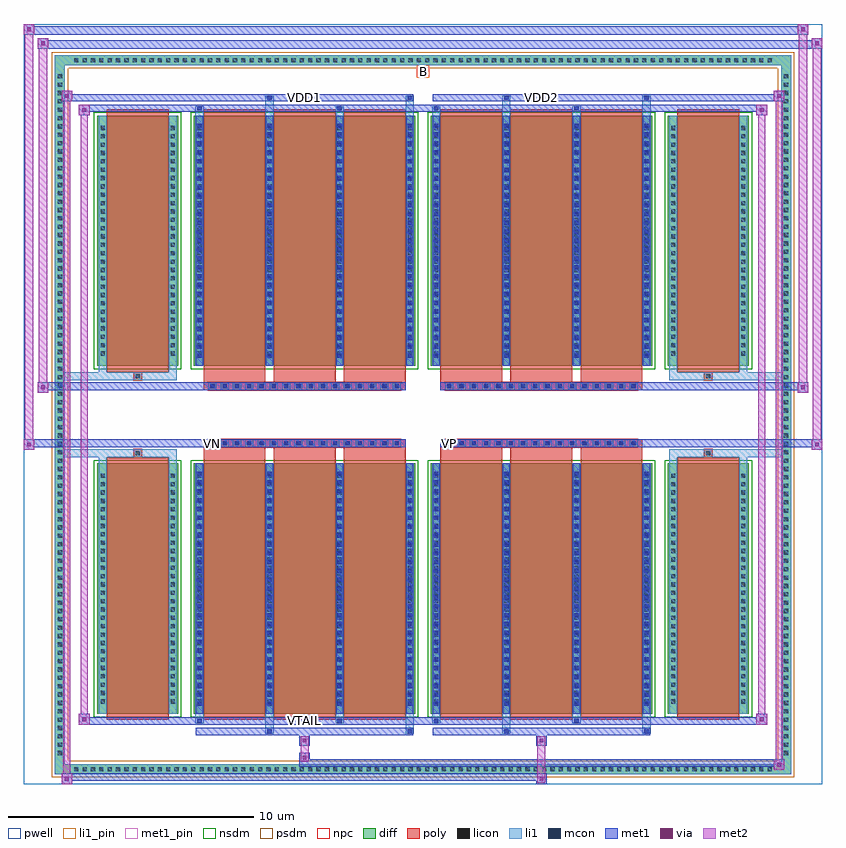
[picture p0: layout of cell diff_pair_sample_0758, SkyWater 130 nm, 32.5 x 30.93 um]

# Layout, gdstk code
import gdstk
lib = gdstk.Library(unit=1e-6, precision=5e-09)
def R(c, l, rs):  # rectangles x0, y0, x1, y1
    for r in rs: c.add(gdstk.rectangle(r[:2], r[2:], *l))
def A(c, l, x, y, w, h, nx, ny, dx, dy):  # array of equal rectangles
    R(c, l, [(x+i*dx, y+j*dy, x+i*dx+w, y+j*dy+h) for i in range(nx) for j in range(ny)])
def P(c, l, *ps):  # polygons
    for p in ps: c.add(gdstk.Polygon(p, *l))
pwell = (64, 44)
diff = (65, 20)
poly = (66, 20)
licon = (66, 44)
li1_pin = (67, 16)
li1 = (67, 20)
mcon = (67, 44)
met1_pin = (68, 16)
met1 = (68, 20)
via = (68, 44)
met2 = (69, 20)
nsdm = (93, 44)
psdm = (94, 20)
npc = (95, 20)

diff_pair_sample_0758 = lib.new_cell('diff_pair_sample_0758')
R(diff_pair_sample_0758, pwell, [(-16.25,-15.03,16.25,15.9), (-13.57,-13.22,-0.01,-0.8), (0.01,-13.22,13.57,-0.8), (-13.57,0.8,-0.01,13.22), (0.01,0.8,13.57,13.22)])
A(diff_pair_sample_0758, diff, -14.315, -14.63, 0.41, 0.41, 84, 2, 0.34, 28.85)
A(diff_pair_sample_0758, diff, -14.98, -13.975, 0.41, 0.41, 1, 82, 0, 0.34)
A(diff_pair_sample_0758, diff, 14.57, -13.975, 0.41, 0.41, 1, 82, 0, 0.34)
R(diff_pair_sample_0758, diff, [(-14.315,-14.63,14.315,-14.22), (-14.98,-13.975,-14.57,13.975), (14.57,-13.975,14.98,13.975), (-13.26,-12.175,-9.96,-1.985), (-9.32,-12.175,-0.32,-1.985), (0.32,-12.175,9.32,-1.985), (9.96,-12.175,13.26,-1.985), (-13.26,1.985,-9.96,12.175), (-9.32,1.985,-0.32,12.175), (0.32,1.985,9.32,12.175), (9.96,1.985,13.26,12.175), (-14.315,14.22,14.315,14.63)])
P(diff_pair_sample_0758, diff, [(14.98,14.63),(-14.98,14.63),(-14.98,-14.22),(-14.57,-14.22),(-14.57,14.22),(14.57,14.22),(14.57,-14.22),(-14.57,-14.22),(-14.98,-14.22),(-14.98,-14.63),(14.98,-14.63)])
A(diff_pair_sample_0758, poly, -8.93, -12.425, 2.52, 10.69, 3, 2, 2.85, 14.16)
A(diff_pair_sample_0758, poly, 0.71, -12.425, 2.52, 10.69, 3, 2, 2.85, 14.16)
A(diff_pair_sample_0758, poly, -8.93, -1.735, 2.52, 0.405, 3, 2, 2.85, 3.065)
A(diff_pair_sample_0758, poly, 0.71, -1.735, 2.52, 0.405, 3, 2, 2.85, 3.065)
A(diff_pair_sample_0758, poly, -8.735, -1.33, 0.33, 0.33, 16, 2, 0.5, 2.33)
A(diff_pair_sample_0758, poly, 0.905, -1.33, 0.33, 0.33, 16, 2, 0.5, 2.33)
R(diff_pair_sample_0758, poly, [(-12.87,-12.425,-10.35,-1.735), (10.35,-12.425,12.87,-1.735), (-11.775,-1.735,-11.445,-1.405), (-11.775,-1.735,-11.445,-1.405), (11.445,-1.735,11.775,-1.405), (11.445,-1.735,11.775,-1.405), (-8.93,-1.33,-0.71,-1), (0.71,-1.33,8.93,-1), (-8.93,1,-0.71,1.33), (0.71,1,8.93,1.33), (-11.775,1.405,-11.445,1.735), (-11.775,1.405,-11.445,1.735), (11.445,1.405,11.775,1.735), (11.445,1.405,11.775,1.735), (-12.87,1.735,-10.35,12.425), (10.35,1.735,12.87,12.425)])
A(diff_pair_sample_0758, licon, -14.195, -14.51, 0.17, 0.17, 84, 2, 0.34, 28.85)
A(diff_pair_sample_0758, licon, -14.86, -13.855, 0.17, 0.17, 1, 82, 0, 0.34)
A(diff_pair_sample_0758, licon, 14.69, -13.855, 0.17, 0.17, 1, 82, 0, 0.34)
A(diff_pair_sample_0758, licon, -13.12, -11.755, 0.17, 0.17, 1, 28, 0, 0.34)
A(diff_pair_sample_0758, licon, -10.27, -11.755, 0.17, 0.17, 1, 28, 0, 0.34)
A(diff_pair_sample_0758, licon, -9.18, -11.755, 0.17, 0.17, 4, 28, 2.85, 0.34)
A(diff_pair_sample_0758, licon, 0.46, -11.755, 0.17, 0.17, 4, 28, 2.85, 0.34)
A(diff_pair_sample_0758, licon, 10.1, -11.755, 0.17, 0.17, 1, 28, 0, 0.34)
A(diff_pair_sample_0758, licon, 12.95, -11.755, 0.17, 0.17, 1, 28, 0, 0.34)
A(diff_pair_sample_0758, licon, -8.655, -1.25, 0.17, 0.17, 16, 2, 0.5, 2.33)
A(diff_pair_sample_0758, licon, 0.985, -1.25, 0.17, 0.17, 16, 2, 0.5, 2.33)
A(diff_pair_sample_0758, licon, -13.12, 2.405, 0.17, 0.17, 1, 28, 0, 0.34)
A(diff_pair_sample_0758, licon, -10.27, 2.405, 0.17, 0.17, 1, 28, 0, 0.34)
A(diff_pair_sample_0758, licon, -9.18, 2.405, 0.17, 0.17, 4, 28, 2.85, 0.34)
A(diff_pair_sample_0758, licon, 0.46, 2.405, 0.17, 0.17, 4, 28, 2.85, 0.34)
A(diff_pair_sample_0758, licon, 10.1, 2.405, 0.17, 0.17, 1, 28, 0, 0.34)
A(diff_pair_sample_0758, licon, 12.95, 2.405, 0.17, 0.17, 1, 28, 0, 0.34)
R(diff_pair_sample_0758, licon, [(-11.695,-1.655,-11.525,-1.485), (11.525,-1.655,11.695,-1.485), (-11.695,1.485,-11.525,1.655), (11.525,1.485,11.695,1.655)])
R(diff_pair_sample_0758, li1_pin, [(-0.25,13.72,0.25,14.22)])
A(diff_pair_sample_0758, li1, -14.275, -14.59, 0.33, 0.33, 84, 2, 0.34, 28.85)
A(diff_pair_sample_0758, li1, -14.94, -13.935, 0.33, 0.33, 1, 82, 0, 0.34)
A(diff_pair_sample_0758, li1, 14.61, -13.935, 0.33, 0.33, 1, 82, 0, 0.34)
A(diff_pair_sample_0758, li1, -9.26, -12.175, 0.33, 10.19, 4, 2, 2.85, 14.16)
A(diff_pair_sample_0758, li1, 0.38, -12.175, 0.33, 10.19, 4, 2, 2.85, 14.16)
A(diff_pair_sample_0758, li1, -9.18, -11.845, 0.17, 0.17, 4, 27, 2.85, 0.36)
A(diff_pair_sample_0758, li1, -9.18, -11.845, 0.17, 9.53, 4, 2, 2.85, 14.16)
A(diff_pair_sample_0758, li1, 0.46, -11.845, 0.17, 0.17, 4, 27, 2.85, 0.36)
A(diff_pair_sample_0758, li1, 0.46, -11.845, 0.17, 9.53, 4, 2, 2.85, 14.16)
A(diff_pair_sample_0758, li1, -13.2, -11.835, 0.33, 0.33, 1, 28, 0, 0.34)
A(diff_pair_sample_0758, li1, -10.35, -11.835, 0.33, 0.33, 1, 28, 0, 0.34)
A(diff_pair_sample_0758, li1, -9.26, -11.835, 0.33, 0.33, 4, 28, 2.85, 0.34)
A(diff_pair_sample_0758, li1, 0.38, -11.835, 0.33, 0.33, 4, 28, 2.85, 0.34)
A(diff_pair_sample_0758, li1, 10.02, -11.835, 0.33, 0.33, 1, 28, 0, 0.34)
A(diff_pair_sample_0758, li1, 12.87, -11.835, 0.33, 0.33, 1, 28, 0, 0.34)
A(diff_pair_sample_0758, li1, -8.735, -1.33, 0.33, 0.33, 16, 2, 0.5, 2.33)
A(diff_pair_sample_0758, li1, 0.905, -1.33, 0.33, 0.33, 16, 2, 0.5, 2.33)
A(diff_pair_sample_0758, li1, -9.18, 2.315, 0.17, 0.17, 4, 27, 2.85, 0.36)
A(diff_pair_sample_0758, li1, 0.46, 2.315, 0.17, 0.17, 4, 27, 2.85, 0.36)
A(diff_pair_sample_0758, li1, -13.2, 2.325, 0.33, 0.33, 1, 28, 0, 0.34)
A(diff_pair_sample_0758, li1, -10.35, 2.325, 0.33, 0.33, 1, 28, 0, 0.34)
A(diff_pair_sample_0758, li1, -9.26, 2.325, 0.33, 0.33, 4, 28, 2.85, 0.34)
A(diff_pair_sample_0758, li1, 0.38, 2.325, 0.33, 0.33, 4, 28, 2.85, 0.34)
A(diff_pair_sample_0758, li1, 10.02, 2.325, 0.33, 0.33, 1, 28, 0, 0.34)
A(diff_pair_sample_0758, li1, 12.87, 2.325, 0.33, 0.33, 1, 28, 0, 0.34)
R(diff_pair_sample_0758, li1, [(-14.98,-14.63,-14.57,-14.22), (-14.98,-14.63,-14.57,-14.22), (-14.57,-14.63,14.57,-14.22), (14.57,-14.63,14.98,-14.22), (14.57,-14.63,14.98,-14.22), (-14.98,-14.22,-14.57,14.22), (14.57,-14.22,14.98,14.22), (-6.41,-12.98,-6.08,-12.175), (-6.33,-12.98,-6.16,-12.81), (-0.71,-12.98,-0.38,-12.175), (-0.63,-12.98,-0.46,-12.81), (3.23,-12.98,3.56,-12.175), (3.31,-12.98,3.48,-12.81), (8.93,-12.98,9.26,-12.175), (9.01,-12.98,9.18,-12.81), (-9.26,-12.55,-8.93,-12.175), (-9.18,-12.55,-9.01,-12.38), (-3.56,-12.55,-3.23,-12.175), (-3.48,-12.55,-3.31,-12.38), (0.38,-12.55,0.71,-12.175), (0.46,-12.55,0.63,-12.38), (6.08,-12.55,6.41,-12.175), (6.16,-12.55,6.33,-12.38), (-13.2,-12.175,-12.87,-1.985), (-10.35,-12.175,-10.02,-1.985), (10.02,-12.175,10.35,-1.985), (12.87,-12.175,13.2,-1.985), (-13.2,-1.985,-12.87,-1.405), (-10.35,-1.985,-10.02,-1.405), (10.02,-1.985,10.35,-1.405), (12.87,-1.985,13.2,-1.405), (-14.98,-1.735,-11.775,-1.405), (-13.2,-1.735,-11.775,-1.405), (-11.775,-1.735,-11.445,-1.405), (-11.445,-1.735,-10.02,-1.405), (10.02,-1.735,11.445,-1.405), (11.445,-1.735,11.775,-1.405), (11.445,-1.735,14.98,-1.405), (11.775,-1.735,13.2,-1.405), (-14.98,1.405,-11.775,1.735), (-13.2,1.405,-11.775,1.735), (-13.2,1.405,-12.87,1.985), (-11.775,1.405,-11.445,1.735), (-11.445,1.405,-10.02,1.735), (-10.35,1.405,-10.02,1.985), (10.02,1.405,11.445,1.735), (10.02,1.405,10.35,1.985), (11.445,1.405,11.775,1.735), (11.445,1.405,14.98,1.735), (11.775,1.405,13.2,1.735), (12.87,1.405,13.2,1.985), (-13.2,1.985,-12.87,12.175), (-10.35,1.985,-10.02,12.175), (10.02,1.985,10.35,12.175), (12.87,1.985,13.2,12.175), (-9.26,12.175,-8.93,12.55), (-6.41,12.175,-6.08,12.98), (-3.56,12.175,-3.23,12.55), (-0.71,12.175,-0.38,12.98), (0.38,12.175,0.71,12.55), (3.23,12.175,3.56,12.98), (6.08,12.175,6.41,12.55), (8.93,12.175,9.26,12.98), (-9.18,12.38,-9.01,12.55), (-3.48,12.38,-3.31,12.55), (0.46,12.38,0.63,12.55), (6.16,12.38,6.33,12.55), (-6.33,12.81,-6.16,12.98), (-0.63,12.81,-0.46,12.98), (3.31,12.81,3.48,12.98), (9.01,12.81,9.18,12.98), (-14.98,14.22,-14.57,14.63), (-14.98,14.22,-14.57,14.63), (-14.57,14.22,14.57,14.63), (14.57,14.22,14.98,14.63), (14.57,14.22,14.98,14.63)])
A(diff_pair_sample_0758, mcon, -9.18, -11.845, 0.17, 0.17, 4, 27, 2.85, 0.36)
A(diff_pair_sample_0758, mcon, 0.46, -11.845, 0.17, 0.17, 4, 27, 2.85, 0.36)
A(diff_pair_sample_0758, mcon, -8.655, -1.25, 0.17, 0.17, 16, 2, 0.5, 2.33)
A(diff_pair_sample_0758, mcon, 0.985, -1.25, 0.17, 0.17, 16, 2, 0.5, 2.33)
A(diff_pair_sample_0758, mcon, -9.18, 2.315, 0.17, 0.17, 4, 27, 2.85, 0.36)
A(diff_pair_sample_0758, mcon, 0.46, 2.315, 0.17, 0.17, 4, 27, 2.85, 0.36)
R(diff_pair_sample_0758, mcon, [(-6.33,-12.98,-6.16,-12.81), (-0.63,-12.98,-0.46,-12.81), (3.31,-12.98,3.48,-12.81), (9.01,-12.98,9.18,-12.81), (-9.18,-12.55,-9.01,-12.38), (-3.48,-12.55,-3.31,-12.38), (0.46,-12.55,0.63,-12.38), (6.16,-12.55,6.33,-12.38), (-9.18,12.38,-9.01,12.55), (-3.48,12.38,-3.31,12.55), (0.46,12.38,0.63,12.55), (6.16,12.38,6.33,12.55), (-6.33,12.81,-6.16,12.98), (-0.63,12.81,-0.46,12.98), (3.31,12.81,3.48,12.98), (9.01,12.81,9.18,12.98)])
R(diff_pair_sample_0758, met1_pin, [(-4.955,-12.59,-4.685,-12.32), (-8.705,-1.29,-8.435,-1.02), (0.935,-1.29,1.205,-1.02), (-4.955,12.77,-4.685,13.04), (4.685,12.77,4.955,13.04)])
A(diff_pair_sample_0758, met1, -9.24, -12.175, 0.29, 10.19, 4, 2, 2.85, 14.16)
A(diff_pair_sample_0758, met1, 0.4, -12.175, 0.29, 10.19, 4, 2, 2.85, 14.16)
A(diff_pair_sample_0758, met1, -9.24, -11.905, 0.29, 0.29, 4, 27, 2.85, 0.36)
A(diff_pair_sample_0758, met1, 0.4, -11.905, 0.29, 0.29, 4, 27, 2.85, 0.36)
A(diff_pair_sample_0758, met1, -8.715, -1.31, 0.29, 0.29, 16, 2, 0.5, 2.33)
A(diff_pair_sample_0758, met1, 0.925, -1.31, 0.29, 0.29, 16, 2, 0.5, 2.33)
A(diff_pair_sample_0758, met1, -9.24, 2.255, 0.29, 0.29, 4, 27, 2.85, 0.36)
A(diff_pair_sample_0758, met1, 0.4, 2.255, 0.29, 0.29, 4, 27, 2.85, 0.36)
R(diff_pair_sample_0758, met1, [(-14.71,-15.03,-14.28,-14.6), (4.605,-15.03,5.035,-14.6), (-14.71,-14.89,5.035,-14.6), (14.28,-14.46,14.71,-14.03), (-5.035,-14.32,14.71,-14.03), (-5.035,-14.18,-4.605,-13.75), (-5.035,-13.47,-4.605,-13.04), (4.605,-13.47,5.035,-13.04), (-9.24,-13.04,-0.4,-12.75), (-6.39,-13.04,-6.1,-12.75), (-0.69,-13.04,-0.4,-12.75), (0.4,-13.04,9.24,-12.75), (3.25,-13.04,3.54,-12.75), (8.95,-13.04,9.24,-12.75), (-14,-12.61,-13.57,-12.18), (-14,-12.61,-9.24,-12.32), (-9.24,-12.61,-8.95,-12.32), (-9.24,-12.61,-0.4,-12.32), (-3.54,-12.61,-3.25,-12.32), (-0.4,-12.61,0.4,-12.32), (0.4,-12.61,0.69,-12.32), (0.4,-12.61,9.24,-12.32), (6.1,-12.61,6.39,-12.32), (9.24,-12.61,14,-12.32), (13.57,-12.61,14,-12.18), (-16.25,-1.43,-15.82,-1), (15.82,-1.43,16.25,-1), (-16.25,-1.33,-0.71,-1), (-8.93,-1.33,-0.71,-1), (0.71,-1.33,8.93,-1), (0.71,-1.33,16.25,-1), (-15.68,0.9,-15.25,1.33), (15.25,0.9,15.68,1.33), (-15.68,1,-8.93,1.33), (-8.93,1,-0.71,1.33), (0.71,1,8.93,1.33), (8.93,1,15.68,1.33), (-14,12.18,-13.57,12.61), (13.57,12.18,14,12.61), (-14,12.32,-9.24,12.61), (-9.24,12.32,-8.95,12.61), (-9.24,12.32,-0.4,12.61), (-3.54,12.32,-3.25,12.61), (-0.4,12.32,0.4,12.61), (0.4,12.32,0.69,12.61), (0.4,12.32,9.24,12.61), (6.1,12.32,6.39,12.61), (9.24,12.32,14,12.61), (-14.71,12.75,-14.28,13.18), (-14.71,12.75,-9.24,13.04), (-9.24,12.75,-0.4,13.04), (-6.39,12.75,-6.1,13.04), (-0.69,12.75,-0.4,13.04), (0.4,12.75,9.24,13.04), (3.25,12.75,3.54,13.04), (8.95,12.75,9.24,13.04), (9.24,12.75,14.71,13.04), (14.28,12.75,14.71,13.18), (-15.68,14.9,-15.25,15.33), (-15.68,14.9,-13.57,15.23), (-13.57,14.9,13.57,15.23), (13.57,14.9,16.25,15.23), (15.82,14.9,16.25,15.33), (-16.25,15.47,-15.82,15.9), (-16.25,15.47,-13.57,15.8), (-13.57,15.47,13.57,15.8), (13.57,15.47,15.68,15.8), (15.25,15.47,15.68,15.9)])
R(diff_pair_sample_0758, via, [(-14.57,-14.89,-14.42,-14.74), (4.745,-14.89,4.895,-14.74), (14.42,-14.32,14.57,-14.17), (-4.895,-14.04,-4.745,-13.89), (-4.895,-13.33,-4.745,-13.18), (4.745,-13.33,4.895,-13.18), (-13.86,-12.47,-13.71,-12.32), (13.71,-12.47,13.86,-12.32), (-16.11,-1.29,-15.96,-1.14), (15.96,-1.29,16.11,-1.14), (-15.54,1.04,-15.39,1.19), (15.39,1.04,15.54,1.19), (-13.86,12.32,-13.71,12.47), (13.71,12.32,13.86,12.47), (-14.57,12.89,-14.42,13.04), (14.42,12.89,14.57,13.04), (-15.54,15.04,-15.39,15.19), (15.96,15.04,16.11,15.19), (-16.11,15.61,-15.96,15.76), (15.39,15.61,15.54,15.76)])
R(diff_pair_sample_0758, met2, [(-14.71,-15.03,-14.28,-14.6), (-14.64,-15.03,-14.35,13.18), (-14.35,-15.03,-14.28,-14.6), (-14.66,-14.98,-14.33,-14.65), (4.655,-14.98,4.985,-14.65), (4.655,-14.65,4.985,-13.42), (14.28,-14.46,14.71,-14.03), (14.35,-14.46,14.64,13.18), (14.64,-14.46,14.71,-14.03), (14.33,-14.41,14.66,-14.08), (-4.985,-14.13,-4.655,-13.8), (-4.985,-13.8,-4.655,-13.42), (-4.985,-13.42,-4.655,-13.09), (4.655,-13.42,4.985,-13.09), (-14,-12.61,-13.57,-12.18), (-13.93,-12.61,-13.64,12.61), (-13.64,-12.61,-13.57,-12.18), (13.57,-12.61,14,-12.18), (13.64,-12.61,13.93,12.61), (13.93,-12.61,14,-12.18), (-13.95,-12.56,-13.62,-12.23), (13.62,-12.56,13.95,-12.23), (-16.25,-1.43,-15.82,-1), (-16.2,-1.43,-15.87,15.9), (-15.87,-1.43,-15.82,-1), (15.82,-1.43,16.25,-1), (15.87,-1.43,16.2,15.33), (16.2,-1.43,16.25,-1), (-16.2,-1.38,-15.87,-1.05), (15.87,-1.38,16.2,-1.05), (-15.68,0.9,-15.25,1.33), (-15.63,0.9,-15.3,15.33), (-15.3,0.9,-15.25,1.33), (15.25,0.9,15.68,1.33), (15.3,0.9,15.63,15.9), (15.63,0.9,15.68,1.33), (-15.63,0.95,-15.3,1.28), (15.3,0.95,15.63,1.28), (-14,12.18,-13.57,12.61), (-13.64,12.18,-13.57,12.61), (13.57,12.18,14,12.61), (13.93,12.18,14,12.61), (-13.95,12.23,-13.62,12.56), (13.62,12.23,13.95,12.56), (-14.71,12.75,-14.28,13.18), (-14.35,12.75,-14.28,13.18), (14.28,12.75,14.71,13.18), (14.64,12.75,14.71,13.18), (-14.66,12.8,-14.33,13.13), (14.33,12.8,14.66,13.13), (-15.68,14.9,-15.25,15.33), (-15.3,14.9,-15.25,15.33), (15.82,14.9,16.25,15.33), (16.2,14.9,16.25,15.33), (-15.63,14.95,-15.3,15.28), (15.87,14.95,16.2,15.28), (-16.25,15.47,-15.82,15.9), (-15.87,15.47,-15.82,15.9), (15.25,15.47,15.68,15.9), (15.63,15.47,15.68,15.9), (-16.2,15.52,-15.87,15.85), (15.3,15.52,15.63,15.85)])
R(diff_pair_sample_0758, nsdm, [(-13.39,-12.305,-9.83,-1.855), (-9.45,-12.305,-0.19,-1.855), (0.19,-12.305,9.45,-1.855), (9.83,-12.305,13.39,-1.855), (-13.39,1.855,-9.83,12.305), (-9.45,1.855,-0.19,12.305), (0.19,1.855,9.45,12.305), (9.83,1.855,13.39,12.305)])
P(diff_pair_sample_0758, psdm, [(15.11,14.76),(-15.11,14.76),(-15.11,-14.09),(-14.44,-14.09),(-14.44,14.09),(14.44,14.09),(14.44,-14.09),(-14.44,-14.09),(-15.11,-14.09),(-15.11,-14.76),(15.11,-14.76)])
A(diff_pair_sample_0758, npc, -8.755, -1.35, 0.37, 0.37, 16, 2, 0.5, 2.33)
A(diff_pair_sample_0758, npc, 0.885, -1.35, 0.37, 0.37, 16, 2, 0.5, 2.33)
R(diff_pair_sample_0758, npc, [(-11.795,-1.755,-11.425,-1.385), (11.425,-1.755,11.795,-1.385), (-8.755,-1.35,-7.885,-0.98), (-8.755,-1.35,-7.885,-0.98), (-8.255,-1.35,-7.385,-0.98), (-8.255,-1.35,-7.385,-0.98), (-7.755,-1.35,-6.885,-0.98), (-7.755,-1.35,-6.885,-0.98), (-7.255,-1.35,-6.385,-0.98), (-7.255,-1.35,-6.385,-0.98), (-6.755,-1.35,-5.885,-0.98), (-6.755,-1.35,-5.885,-0.98), (-6.255,-1.35,-5.385,-0.98), (-6.255,-1.35,-5.385,-0.98), (-5.755,-1.35,-4.885,-0.98), (-5.755,-1.35,-4.885,-0.98), (-5.255,-1.35,-4.385,-0.98), (-5.255,-1.35,-4.385,-0.98), (-4.755,-1.35,-3.885,-0.98), (-4.755,-1.35,-3.885,-0.98), (-4.255,-1.35,-3.385,-0.98), (-4.255,-1.35,-3.385,-0.98), (-3.755,-1.35,-2.885,-0.98), (-3.755,-1.35,-2.885,-0.98), (-3.255,-1.35,-2.385,-0.98), (-3.255,-1.35,-2.385,-0.98), (-2.755,-1.35,-1.885,-0.98), (-2.755,-1.35,-1.885,-0.98), (-2.255,-1.35,-1.385,-0.98), (-2.255,-1.35,-1.385,-0.98), (-1.755,-1.35,-0.885,-0.98), (-1.755,-1.35,-0.885,-0.98), (0.885,-1.35,1.755,-0.98), (0.885,-1.35,1.755,-0.98), (1.385,-1.35,2.255,-0.98), (1.385,-1.35,2.255,-0.98), (1.885,-1.35,2.755,-0.98), (1.885,-1.35,2.755,-0.98), (2.385,-1.35,3.255,-0.98), (2.385,-1.35,3.255,-0.98), (2.885,-1.35,3.755,-0.98), (2.885,-1.35,3.755,-0.98), (3.385,-1.35,4.255,-0.98), (3.385,-1.35,4.255,-0.98), (3.885,-1.35,4.755,-0.98), (3.885,-1.35,4.755,-0.98), (4.385,-1.35,5.255,-0.98), (4.385,-1.35,5.255,-0.98), (4.885,-1.35,5.755,-0.98), (4.885,-1.35,5.755,-0.98), (5.385,-1.35,6.255,-0.98), (5.385,-1.35,6.255,-0.98), (5.885,-1.35,6.755,-0.98), (5.885,-1.35,6.755,-0.98), (6.385,-1.35,7.255,-0.98), (6.385,-1.35,7.255,-0.98), (6.885,-1.35,7.755,-0.98), (6.885,-1.35,7.755,-0.98), (7.385,-1.35,8.255,-0.98), (7.385,-1.35,8.255,-0.98), (7.885,-1.35,8.755,-0.98), (7.885,-1.35,8.755,-0.98), (-8.755,0.98,-7.885,1.35), (-8.755,0.98,-7.885,1.35), (-8.255,0.98,-7.385,1.35), (-8.255,0.98,-7.385,1.35), (-7.755,0.98,-6.885,1.35), (-7.755,0.98,-6.885,1.35), (-7.255,0.98,-6.385,1.35), (-7.255,0.98,-6.385,1.35), (-6.755,0.98,-5.885,1.35), (-6.755,0.98,-5.885,1.35), (-6.255,0.98,-5.385,1.35), (-6.255,0.98,-5.385,1.35), (-5.755,0.98,-4.885,1.35), (-5.755,0.98,-4.885,1.35), (-5.255,0.98,-4.385,1.35), (-5.255,0.98,-4.385,1.35), (-4.755,0.98,-3.885,1.35), (-4.755,0.98,-3.885,1.35), (-4.255,0.98,-3.385,1.35), (-4.255,0.98,-3.385,1.35), (-3.755,0.98,-2.885,1.35), (-3.755,0.98,-2.885,1.35), (-3.255,0.98,-2.385,1.35), (-3.255,0.98,-2.385,1.35), (-2.755,0.98,-1.885,1.35), (-2.755,0.98,-1.885,1.35), (-2.255,0.98,-1.385,1.35), (-2.255,0.98,-1.385,1.35), (-1.755,0.98,-0.885,1.35), (-1.755,0.98,-0.885,1.35), (0.885,0.98,1.755,1.35), (0.885,0.98,1.755,1.35), (1.385,0.98,2.255,1.35), (1.385,0.98,2.255,1.35), (1.885,0.98,2.755,1.35), (1.885,0.98,2.755,1.35), (2.385,0.98,3.255,1.35), (2.385,0.98,3.255,1.35), (2.885,0.98,3.755,1.35), (2.885,0.98,3.755,1.35), (3.385,0.98,4.255,1.35), (3.385,0.98,4.255,1.35), (3.885,0.98,4.755,1.35), (3.885,0.98,4.755,1.35), (4.385,0.98,5.255,1.35), (4.385,0.98,5.255,1.35), (4.885,0.98,5.755,1.35), (4.885,0.98,5.755,1.35), (5.385,0.98,6.255,1.35), (5.385,0.98,6.255,1.35), (5.885,0.98,6.755,1.35), (5.885,0.98,6.755,1.35), (6.385,0.98,7.255,1.35), (6.385,0.98,7.255,1.35), (6.885,0.98,7.755,1.35), (6.885,0.98,7.755,1.35), (7.385,0.98,8.255,1.35), (7.385,0.98,8.255,1.35), (7.885,0.98,8.755,1.35), (7.885,0.98,8.755,1.35), (-11.795,1.385,-11.425,1.755), (11.425,1.385,11.795,1.755)])
diff_pair_sample_0758.add(gdstk.Label('VTAIL', (-4.82,-12.455), layer=68, texttype=5))
diff_pair_sample_0758.add(gdstk.Label('VN', (-8.57,-1.155), layer=68, texttype=5))
diff_pair_sample_0758.add(gdstk.Label('VP', (1.07,-1.155), layer=68, texttype=5))
diff_pair_sample_0758.add(gdstk.Label('B', (0,13.97), layer=67, texttype=5))
diff_pair_sample_0758.add(gdstk.Label('VDD2', (4.82,12.905), layer=68, texttype=5))
diff_pair_sample_0758.add(gdstk.Label('VDD1', (-4.82,12.905), layer=68, texttype=5))

lib.write_gds('diff_pair_sample_0758.gds')
